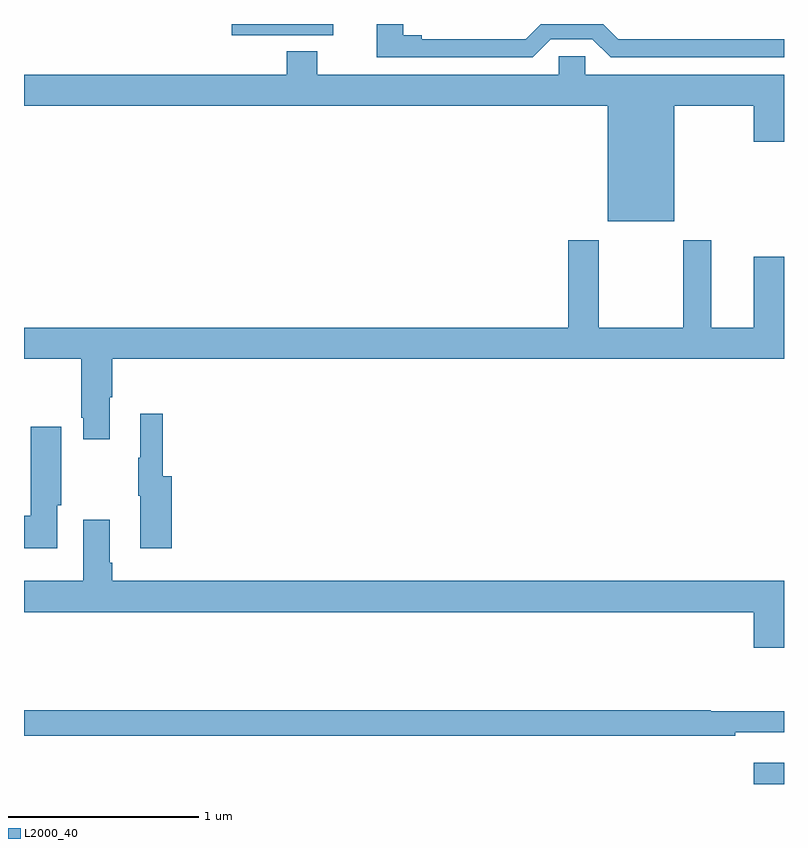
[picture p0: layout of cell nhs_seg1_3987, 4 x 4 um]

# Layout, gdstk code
import gdstk
lib = gdstk.Library(unit=1e-6, precision=1e-09)
def R(c, l, rs):  # rectangles x0, y0, x1, y1
    for r in rs: c.add(gdstk.rectangle(r[:2], r[2:], *l))
def P(c, l, *ps):  # polygons
    for p in ps: c.add(gdstk.Polygon(p, *l))
L2000_40 = (2000, 40)

nhs_seg1_3987 = lib.new_cell('nhs_seg1_3987')
R(nhs_seg1_3987, L2000_40, [(332.84,512.199,333,512.311), (330.093,516.141,330.627,516.199)])
P(nhs_seg1_3987, L2000_40, [(331.773,516.12),(331.991,516.12),(332.087,516.024),(333,516.024),(333,516.12),(332.127,516.12),(332.048,516.199),(331.72,516.199),(331.641,516.12),(331.093,516.12),(331.093,516.14),(330.997,516.14),(330.997,516.199),(330.857,516.199),(330.857,516.024),(331.677,516.024)],
  [(332.422,515.768),(332.84,515.768),(332.84,515.58),(333,515.58),(333,515.932),(331.953,515.932),(331.953,516.03),(331.815,516.03),(331.815,515.932),(330.543,515.932),(330.543,516.056),(330.383,516.056),(330.383,515.932),(329,515.932),(329,515.768),(332.072,515.768),(332.072,515.162),(332.422,515.162)],
  [(329.452,514.234),(329.465,514.234),(329.465,514.436),(333,514.436),(333,514.975),(332.84,514.975),(332.84,514.6),(332.617,514.6),(332.617,515.062),(332.47,515.062),(332.47,514.6),(332.025,514.6),(332.025,515.062),(331.865,515.062),(331.865,514.6),(329,514.6),(329,514.436),(329.3,514.436),(329.3,514.126),(329.312,514.126),(329.312,514.014),(329.452,514.014)],
  [(329.777,513.82),(329.729,513.82),(329.729,514.147),(329.612,514.147),(329.612,513.916),(329.601,513.916),(329.601,513.716),(329.612,513.716),(329.612,513.44),(329.777,513.44)],
  [(329.176,513.666),(329.196,513.666),(329.196,514.078),(329.036,514.078),(329.036,513.611),(329,513.611),(329,513.44),(329.176,513.44)],
  [(333,513.268),(329.465,513.268),(329.465,513.364),(329.452,513.364),(329.452,513.589),(329.312,513.589),(329.312,513.268),(329,513.268),(329,513.104),(332.84,513.104),(332.84,512.916),(333,512.916)],
  [(332.744,512.471),(333,512.471),(333,512.581),(332.614,512.581),(332.614,512.588),(329,512.588),(329,512.452),(332.744,512.452)])

lib.write_gds('nhs_seg1_3987.gds')
